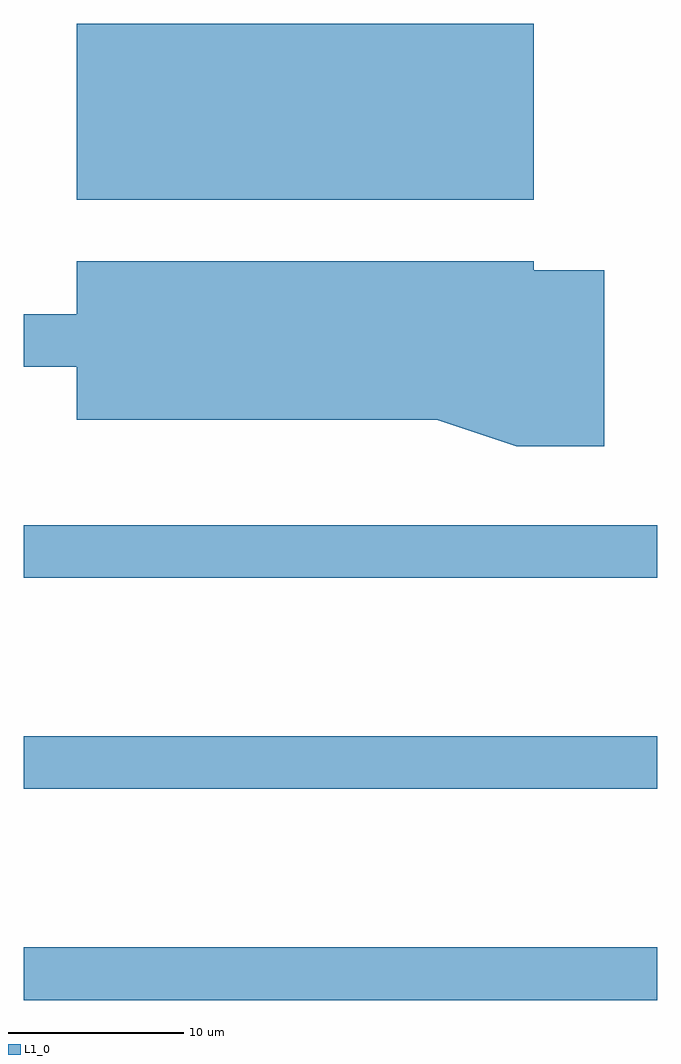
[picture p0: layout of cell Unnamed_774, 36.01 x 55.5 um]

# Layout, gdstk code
from math import pi, radians
import gdstk
lib = gdstk.Library(unit=1e-6, precision=1e-09)
def R(c, l, rs):  # rectangles x0, y0, x1, y1
    for r in rs: c.add(gdstk.rectangle(r[:2], r[2:], *l))
def A(c, l, x, y, w, h, nx, ny, dx, dy):  # array of equal rectangles
    R(c, l, [(x+i*dx, y+j*dy, x+i*dx+w, y+j*dy+h) for i in range(nx) for j in range(ny)])
def P(c, l, *ps):  # polygons
    for p in ps: c.add(gdstk.Polygon(p, *l))
L1_0 = (1, 0)

rectangle_s26_9_l1_0_cf_ = lib.new_cell('rectangle_S26_9_L1_0_CF_450c2db6')
R(rectangle_s26_9_l1_0_cf_, L1_0, [(0,0,26,9)])

rectangle_s26_10_l1_0_c_ = lib.new_cell('rectangle_S26_10_L1_0_C_62d41f10')
R(rectangle_s26_10_l1_0_c_, L1_0, [(0,0,26,10)])

triangle_x10_x5_y20_y5_l = lib.new_cell('triangle_X10_X5_Y20_Y5_L1_0')
P(triangle_x10_x5_y20_y5_l, L1_0, [(0,0),(0,20),(5,20),(10,5),(10,0)])

unnamed_774 = lib.new_cell('Unnamed_774')
A(unnamed_774, L1_0, -3.004, -1.504, 36.008, 3.008, 1, 3, 0, 12)
R(unnamed_774, L1_0, [(-3.004,34.496,23.004,37.504)])
unnamed_774.add(gdstk.Reference(rectangle_s26_9_l1_0_cf_, (0,31.5)))
unnamed_774.add(gdstk.Reference(rectangle_s26_10_l1_0_c_, (0,44)))
unnamed_774.add(gdstk.Reference(triangle_x10_x5_y20_y5_l, (30,40), rotation=3*pi/2, x_reflection=True))

lib.write_gds('Unnamed_774.gds')
